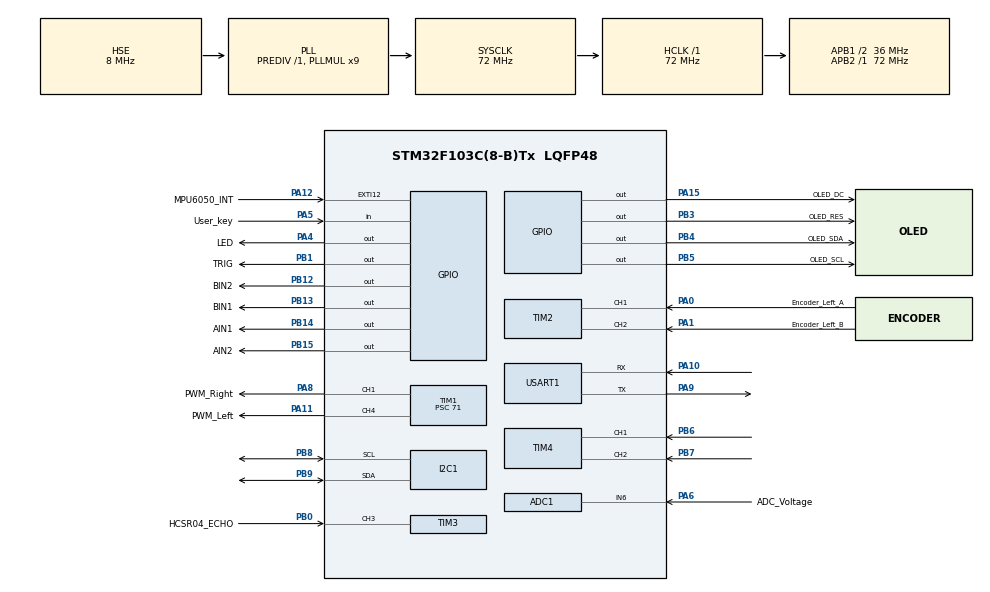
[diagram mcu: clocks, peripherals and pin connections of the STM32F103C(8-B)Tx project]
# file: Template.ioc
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ADC1.Channel-1\#ChannelRegularConversion=ADC_CHANNEL_6
ADC1.NbrOfConversionFlag=1
ADC1.Rank-1\#ChannelRegularConversion=1
ADC1.SamplingTime-1\#ChannelRegularConversion=ADC_SAMPLETIME_1CYCLE_5
ADC1.master=1
I2C1.I2C_Mode=I2C_Fast
Mcu.Family=STM32F1
Mcu.Name=STM32F103C(8-B)Tx
Mcu.Package=LQFP48
NVIC.EXTI15_10_IRQn=true\:0\:0\:false\:false\:true\:true\:true\:true
NVIC.PriorityGroup=NVIC_PRIORITYGROUP_4
NVIC.TIM3_IRQn=true\:0\:0\:true\:false\:true\:true\:true\:true
PA0-WKUP.GPIO_Label=Encoder_Left_A
PA0-WKUP.Signal=S_TIM2_CH1_ETR
PA1.GPIO_Label=Encoder_Left_B
PA1.Signal=S_TIM2_CH2
PA10.Mode=Asynchronous
PA10.Signal=USART1_RX
PA11.GPIO_Label=PWM_Left
PA11.Signal=S_TIM1_CH4
PA12.GPIO_Label=MPU6050_INT
PA12.GPIO_ModeDefaultEXTI=GPIO_MODE_IT_FALLING
PA12.GPIO_PuPd=GPIO_PULLUP
PA12.Signal=GPXTI12
PA13.Mode=Serial_Wire
PA13.Signal=SYS_JTMS-SWDIO
PA14.Mode=Serial_Wire
PA14.Signal=SYS_JTCK-SWCLK
PA15.GPIO_Label=OLED_DC
PA15.GPIO_Speed=GPIO_SPEED_FREQ_HIGH
PA15.PinState=GPIO_PIN_SET
PA15.Signal=GPIO_Output
PA4.GPIO_Label=LED
PA4.Signal=GPIO_Output
PA5.GPIO_Label=User_key
PA5.Signal=GPIO_Input
PA6.GPIO_Label=ADC_Voltage
PA6.Signal=ADCx_IN6
PA8.GPIO_Label=PWM_Right
PA8.Signal=S_TIM1_CH1
PA9.Mode=Asynchronous
PA9.Signal=USART1_TX
PB0.GPIO_Label=HCSR04_ECHO
PB0.Signal=S_TIM3_CH3
PB1.GPIO_Label=TRIG
PB1.GPIO_Speed=GPIO_SPEED_FREQ_HIGH
PB1.PinState=GPIO_PIN_RESET
PB1.Signal=GPIO_Output
PB12.GPIO_Label=BIN2
PB12.Signal=GPIO_Output
PB13.GPIO_Label=BIN1
PB13.Signal=GPIO_Output
PB14.GPIO_Label=AIN1
PB14.Signal=GPIO_Output
PB15.GPIO_Label=AIN2
PB15.Signal=GPIO_Output
PB3.GPIO_Label=OLED_RES
PB3.GPIO_Speed=GPIO_SPEED_FREQ_HIGH
PB3.PinState=GPIO_PIN_SET
PB3.Signal=GPIO_Output
PB4.GPIO_Label=OLED_SDA
PB4.GPIO_Speed=GPIO_SPEED_FREQ_HIGH
PB4.PinState=GPIO_PIN_SET
PB4.Signal=GPIO_Output
PB5.GPIO_Label=OLED_SCL
PB5.GPIO_Speed=GPIO_SPEED_FREQ_HIGH
PB5.PinState=GPIO_PIN_SET
PB5.Signal=GPIO_Output
PB6.Signal=S_TIM4_CH1
PB7.Signal=S_TIM4_CH2
PB8.Mode=I2C
PB8.Signal=I2C1_SCL
PB9.Mode=I2C
PB9.Signal=I2C1_SDA
PD0-OSC_IN.Mode=HSE-External-Oscillator
PD0-OSC_IN.Signal=RCC_OSC_IN
PD1-OSC_OUT.Mode=HSE-External-Oscillator
PD1-OSC_OUT.Signal=RCC_OSC_OUT
ProjectManager.HeapSize=0x200
ProjectManager.StackSize=0x400
ProjectManager.TargetToolchain=Makefile
RCC.ADCPresc=RCC_ADCPCLK2_DIV6
RCC.AHBFreq_Value=72000000
RCC.APB1CLKDivider=RCC_HCLK_DIV2
RCC.APB1Freq_Value=36000000
RCC.APB1TimFreq_Value=72000000
RCC.APB2Freq_Value=72000000
RCC.APB2TimFreq_Value=72000000
RCC.HCLKFreq_Value=72000000
RCC.PLLMUL=RCC_PLL_MUL9
RCC.PLLSourceVirtual=RCC_PLLSOURCE_HSE
RCC.SYSCLKFreq_VALUE=72000000
RCC.SYSCLKSource=RCC_SYSCLKSOURCE_PLLCLK
RCC.USBFreq_Value=72000000
SH.ADCx_IN6.0=ADC1_IN6,IN6
SH.S_TIM1_CH1.0=TIM1_CH1,PWM Generation1 CH1
SH.S_TIM1_CH4.0=TIM1_CH4,PWM Generation4 CH4
SH.S_TIM2_CH1_ETR.0=TIM2_CH1,Encoder_Interface
SH.S_TIM2_CH2.0=TIM2_CH2,Encoder_Interface
SH.S_TIM3_CH3.0=TIM3_CH3,Input_Capture3_from_TI3
SH.S_TIM4_CH1.0=TIM4_CH1,Encoder_Interface
SH.S_TIM4_CH2.0=TIM4_CH2,Encoder_Interface
TIM1.Channel-PWM\ Generation1\ CH1=TIM_CHANNEL_1
TIM1.Channel-PWM\ Generation4\ CH4=TIM_CHANNEL_4
TIM1.Period=1000-1
TIM1.Prescaler=71
TIM1.Pulse-PWM\ Generation1\ CH1=500-1
TIM1.Pulse-PWM\ Generation4\ CH4=500-1
TIM2.EncoderMode=TIM_ENCODERMODE_TI12
TIM3.Channel-Input_Capture3_from_TI3=TIM_CHANNEL_3
TIM3.ICFilter_CH3=0
TIM3.Prescaler=72-1
TIM4.EncoderMode=TIM_ENCODERMODE_TI12
TIM4.IC1Filter=10
TIM4.IC2Filter=10
USART1.VirtualMode=VM_ASYNC
VP_TIM1_VS_ClockSourceINT.Mode=Internal
VP_TIM3_VS_ClockSourceINT.Mode=Internal
board=custom

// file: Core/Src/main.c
/* USER CODE BEGIN Header */
/**
  ******************************************************************************
  * @file           : main.c
  * @brief          : Main program body
  ******************************************************************************
  * @attention
  *
  * Copyright (c) 2024 STMicroelectronics.
  * All rights reserved.
  *
  * This software is licensed under terms that can be found in the LICENSE file
  * in the root directory of this software component.
  * If no LICENSE file comes with this software, it is provided AS-IS.
  *
  ******************************************************************************
  */
/* USER CODE END Header */
#include "main.h"
#include "adc.h"
#include "i2c.h"
#include "tim.h"
#include "usart.h"
#include "gpio.h"

/* USER CODE BEGIN Includes */
#include "test.h"

/* 板级支持包相关 */
#include "led.h"
#include "oled.h"
#include "mpu6050.h"
#include "hcsr04.h"
#include "encoder.h"
#include "motor.h"
#include "key.h"
#include "show.h"

/* 辅助文件 */
#include "delay.h"
#include "soft_timer.h"

/* USER CODE END Includes */

/* USER CODE BEGIN PV */
Encoder_Data_t Encoder_Data;
Motor_Data_t   Motor_Data;
MPU6050_Data_t MPU6050_Data;
Hcsr04Info_t   Hcsr04Info;

u8          Way_Angle = 2; /* 获取角度的算法, 1: 四元数  2: 卡尔曼  3: 互补滤波 */
u8          Flag_front, Flag_back, Flag_Left, Flag_Right, Flag_velocity = 2; /* 蓝牙遥控相关的变量 */
u8          Flag_Stop = 1, Flag_Show = 0; /* 电机停止标志位和显示标志位  默认停止 显示打开 */
int         Voltage;                      /* 电池电压采样相关的变量 */
float       Angle_Balance, Gyro_Balance, Gyro_Turn; /* 平衡倾角 平衡陀螺仪 转向陀螺仪 */
u8          PID_Send;                               /* 调参相关变量 */
u8          Flag_follow = 0, Flag_avoid = 0;        /* 超声波跟随、超声波壁障标志位 */
volatile u8 delay_flag, delay_50;                   /* 提供延时的变量 */
float       Balance_Kp = 22500, Balance_Kd = 108;   /* 定义平衡环 PID 参数 */
float       Velocity_Kp = 16000, Velocity_Ki = 80;  /* 定义速度环 PID 参数 */
float       Turn_Kp = 4200, Turn_Kd = 0;            /* 定义转向环 PID 参数 PID 参数 (放大 100 倍) */
int         Motor_Left, Motor_Right;                /* 存放电机经过 PID 控制之后的 PWM */

/* USER CODE END PV */

void SystemClock_Config(void);

/* USER CODE BEGIN 0 */
static void BSP_Init(void)
{
    OLED_Init();
    Encoder_Init(&Encoder_Data);
    Motor_Init(&Motor_Data);
    MPU6050_Init(&MPU6050_Data);
    HCSR04_Init(&htim3, TIM_CHANNEL_3);
    OLED_Init();
    SoftTimer_Init();
}
/* USER CODE END 0 */

int main(void)
{

    /* MCU Configuration--------------------------------------------------------*/

    /* Reset of all peripherals, Initializes the Flash interface and the Systick. */
    HAL_Init();

    /* Configure the system clock */
    SystemClock_Config();

    /* Initialize all configured peripherals */
    MX_GPIO_Init();
    MX_USART1_UART_Init();
    MX_I2C1_Init();
    MX_TIM3_Init();
    MX_TIM2_Init();
    MX_TIM1_Init();
    MX_TIM4_Init();
    MX_ADC1_Init();
    /* USER CODE BEGIN 2 */
    BSP_Init();
    /* 原本由 CubeMX 工具生成的代码是 HAL_NVIC_EnableIRQ(EXTI15_10_IRQn) 由于生成的代码总在用户代码之上
    这个中断是需要所有的外设初始化完毕最后才能开启的, 所以在 MX_GPIO_Init 中先失能, 在所有外设初始化完成后再使能 */
    // HAL_NVIC_EnableIRQ(EXTI15_10_IRQn); /* 开启引脚外部中断 */

    /* USER CODE END 2 */

    /* Infinite loop */
    /* USER CODE BEGIN WHILE */

    while (1)
    {
        // Test_HCSR04();
        // Test_Encoder();
        // Test_Motor();
        // Test_MPU6050();
        // Test_OLED();
        // Test_Main();
        // Test_ADC();
        // Test_SoftTimer();

        if (Flag_Show == 0) /* 使用 OLED 显示屏 */
        {
            OLED_Show();
        }
        delay_flag = 1;
        delay_50 = 0;
        while (delay_flag)
            ; /* 示波器需要 50ms 高精度延时, delay 函数不满足要求, 故使用 MPU6050 中断提供 50ms 延时 */

        /* USER CODE END WHILE */

    }
}

void SystemClock_Config(void)
{
    RCC_OscInitTypeDef       RCC_OscInitStruct = {0};
    RCC_ClkInitTypeDef       RCC_ClkInitStruct = {0};
    RCC_PeriphCLKInitTypeDef PeriphClkInit = {0};

    /** Initializes the RCC Oscillators according to the specified parameters
  * in the RCC_OscInitTypeDef structure.
  */
    RCC_OscInitStruct.OscillatorType = RCC_OSCILLATORTYPE_HSE;
    RCC_OscInitStruct.HSEState = RCC_HSE_ON;
    RCC_OscInitStruct.HSEPredivValue = RCC_HSE_PREDIV_DIV1;
    RCC_OscInitStruct.HSIState = RCC_HSI_ON;
    RCC_OscInitStruct.PLL.PLLState = RCC_PLL_ON;
    RCC_OscInitStruct.PLL.PLLSource = RCC_PLLSOURCE_HSE;
    RCC_OscInitStruct.PLL.PLLMUL = RCC_PLL_MUL9;
    if (HAL_RCC_OscConfig(&RCC_OscInitStruct) != HAL_OK)
    {
        Error_Handler();
    }

    /** Initializes the CPU, AHB and APB buses clocks
  */
    RCC_ClkInitStruct.ClockType = RCC_CLOCKTYPE_HCLK | RCC_CLOCKTYPE_SYSCLK | RCC_CLOCKTYPE_PCLK1 | RCC_CLOCKTYPE_PCLK2;
    RCC_ClkInitStruct.SYSCLKSource = RCC_SYSCLKSOURCE_PLLCLK;
    RCC_ClkInitStruct.AHBCLKDivider = RCC_SYSCLK_DIV1;
    RCC_ClkInitStruct.APB1CLKDivider = RCC_HCLK_DIV2;
    RCC_ClkInitStruct.APB2CLKDivider = RCC_HCLK_DIV1;

    if (HAL_RCC_ClockConfig(&RCC_ClkInitStruct, FLASH_LATENCY_2) != HAL_OK)
    {
        Error_Handler();
    }
    PeriphClkInit.PeriphClockSelection = RCC_PERIPHCLK_ADC;
    PeriphClkInit.AdcClockSelection = RCC_ADCPCLK2_DIV6;
    if (HAL_RCCEx_PeriphCLKConfig(&PeriphClkInit) != HAL_OK)
    {
        Error_Handler();
    }
}

void Error_Handler(void)
{
    __disable_irq();
    while (1)
    {
    }
}
